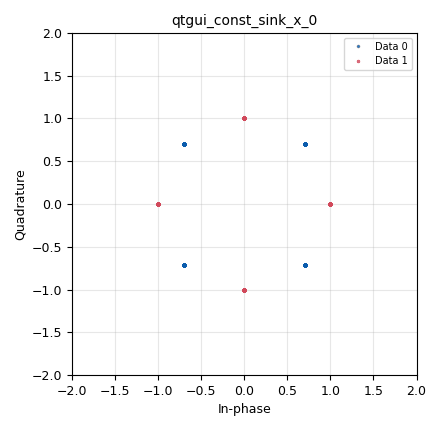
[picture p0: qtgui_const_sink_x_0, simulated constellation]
options:
  parameters:
    author: p
    generate_options: qt_gui
    id: Week8_lecture40_1dpsk
    output_language: python
    title: Not titled yet
  states: {}

blocks:
- name: delta_f
  id: variable_qtgui_range
  parameters:
    start: '-10'
    step: '0.1'
    stop: '10'
    value: '0'
  states: {}
- name: myconst
  id: variable_constellation
  parameters:
    const_points: '[-1-1j, -1+1j, 1+1j, 1-1j]'
    dims: '1'
    normalization: digital.constellation.AMPLITUDE_NORMALIZATION
    precision: '8'
    rot_sym: '4'
    sym_map: '[0, 1, 3, 2]'
    type: calcdist
  states: {}
- name: noisestd
  id: variable_qtgui_range
  parameters:
    start: '0'
    step: '0.1'
    stop: '3'
    value: '0'
  states: {}
- name: samp_rate
  id: variable
  parameters:
    value: '32000'
  states: {}
- name: analog_noise_source_x_0
  id: analog_noise_source_x
  parameters:
    amp: noisestd
    noise_type: analog.GR_GAUSSIAN
    seed: '0'
    type: complex
  states: {}
- name: analog_random_source_x_0
  id: analog_random_source_x
  parameters:
    max: '4'
    min: '0'
    num_samps: '1000'
    repeat: 'True'
    type: byte
  states: {}
- name: analog_sig_source_x_0
  id: analog_sig_source_x
  parameters:
    amp: '1'
    freq: delta_f
    offset: '0'
    phase: '0'
    samp_rate: samp_rate
    type: complex
    waveform: analog.GR_COS_WAVE
  states: {}
- name: blocks_add_xx_0
  id: blocks_add_xx
  parameters:
    type: complex
  states: {}
- name: blocks_multiply_xx_0
  id: blocks_multiply_xx
  parameters:
    type: complex
  states: {}
- name: blocks_throttle2_0
  id: blocks_throttle2
  parameters:
    samples_per_second: samp_rate
    type: complex
  states: {}
- name: digital_constellation_encoder_bc_0
  id: digital_constellation_encoder_bc
  parameters:
    constellation: myconst
  states: {}
- name: digital_diff_phasor_cc_0
  id: digital_diff_phasor_cc
  parameters: {}
  states: {}
- name: qtgui_const_sink_x_0
  id: qtgui_const_sink_x
  parameters:
    nconnections: '2'
    size: '1024'
    type: complex
  states: {}

connections:
- [analog_noise_source_x_0, '0', blocks_add_xx_0, '1']
- [analog_random_source_x_0, '0', digital_constellation_encoder_bc_0, '0']
- [analog_sig_source_x_0, '0', blocks_multiply_xx_0, '1']
- [blocks_add_xx_0, '0', blocks_multiply_xx_0, '0']
- [blocks_multiply_xx_0, '0', digital_diff_phasor_cc_0, '0']
- [blocks_multiply_xx_0, '0', qtgui_const_sink_x_0, '0']
- [blocks_throttle2_0, '0', blocks_add_xx_0, '0']
- [digital_constellation_encoder_bc_0, '0', blocks_throttle2_0, '0']
- [digital_diff_phasor_cc_0, '0', qtgui_const_sink_x_0, '1']

metadata:
  file_format: 1
  grc_version: 3.10.7.0
